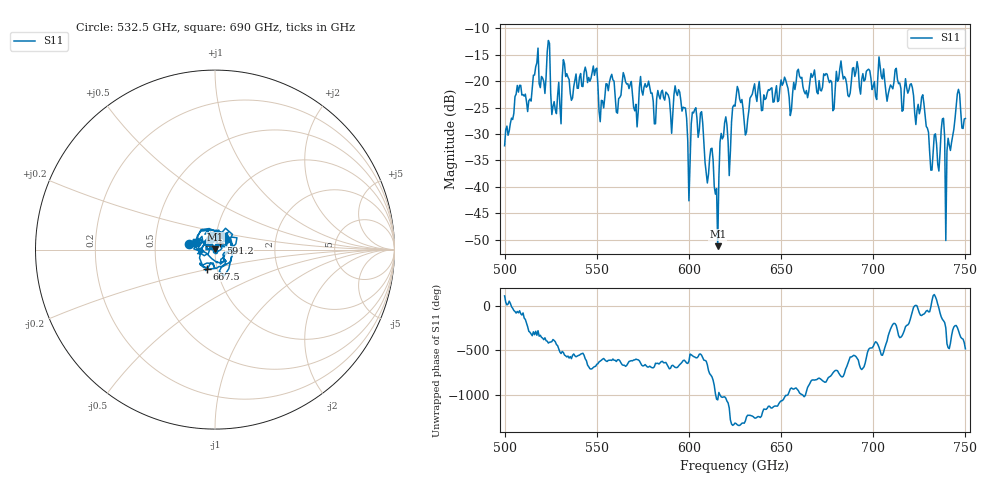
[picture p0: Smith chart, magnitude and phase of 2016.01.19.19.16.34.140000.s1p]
!Created with skrf (http://scikit-rf.org).
# GHz S RI R 50.0
!freq ReS11 ImS11
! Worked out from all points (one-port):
!   401 points, 500 GHz to 750 GHz, reference 50 ohm
!   lowest |S11| = -51.2 dB at 615.6 GHz (marker M1), VSWR 1.01, Z = 50.3 + j0.108 ohm
!   |S11| at or under -10 dB: start of sweep to end of sweep
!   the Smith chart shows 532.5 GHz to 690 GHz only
!   S11 on the Smith chart (normalised r, x): 532.5 GHz: 0.75, +0.05; 591.2 GHz: 1.06, +0.08; 667.5 GHz: 0.90, -0.19; 690 GHz: 0.81, +0.06
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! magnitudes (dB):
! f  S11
! 500 GHz  -32.2
! 516.9 GHz  -17.3
! 523.8 GHz  -12.3
! 526.9 GHz  -23.9
! 531.2 GHz  -19.3
! 532.5 GHz  -16.7
! 562.5 GHz  -23.1
! 591.2 GHz  -26.2
! 593.8 GHz  -22.7
! 600 GHz  -42.7
! 603.1 GHz  -25.4
! 615.6 GHz  -51.2
! 618.1 GHz  -30.9
! 621.9 GHz  -37.9
! 625 GHz  -24.8
! 631.2 GHz  -29.7
! 634.4 GHz  -22.5
! 656.2 GHz  -22.3
! 667.5 GHz  -18.8
! 687.5 GHz  -22.2
! 690 GHz  -19.1
! 718.8 GHz  -22.3
! 726.9 GHz  -22.6
! 731.2 GHz  -36.9
! 737.5 GHz  -27.2
! 740.6 GHz  -30.8
! 746.2 GHz  -21.6
! 750 GHz  -27.1
